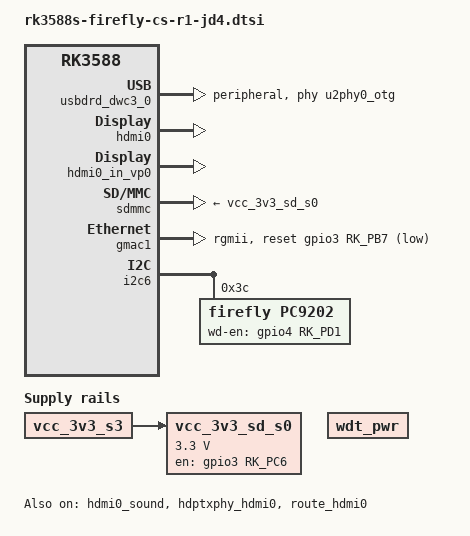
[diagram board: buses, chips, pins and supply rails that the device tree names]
// SPDX-License-Identifier: (GPL-2.0+ OR MIT)
/*
 * Copyright (c) 2021 Rockchip Electronics Co., Ltd.
 *
 */

#include "rk3588-firefly-port.dtsi"

/ {
	chosen: chosen {
		bootargs = "earlycon=uart8250,mmio32,0xfeb50000 console=ttyFIQ0 irqchip.gicv3_pseudo_nmi=0 root=PARTLABEL=rootfs rootfstype=ext4 ro rootwait overlayroot=device:dev=PARTLABEL=userdata,fstype=ext4,mkfs=1 coherent_pool=1m systemd.gpt_auto=0 cgroup_enable=memory swapaccount=1";
	};

	firefly_leds: leds {
		power_led: power {
			gpios = <&gpio4 RK_PA3 GPIO_ACTIVE_HIGH>;//blue led
			pinctrl-names = "default";
			pinctrl-0 = <&led_power>;
		};

		user_led: user {
			gpios = <&gpio4 RK_PB4 GPIO_ACTIVE_HIGH>;//red led
			pinctrl-names = "default";
			pinctrl-0 = <&led_user>;
		};
	};

    vcc_3v3_sd_s0: vcc-3v3-sd-s0 {
        compatible = "regulator-fixed";
        regulator-name = "vcc_3v3_sd_s0";
        regulator-min-microvolt = <3300000>;
        regulator-max-microvolt = <3300000>;
        gpios = <&gpio3 RK_PC6 GPIO_ACTIVE_HIGH>;
        pinctrl-names = "default";
        pinctrl-0 = <&sdmmc_pwr>;
        enable-active-high;
        vin-supply = <&vcc_3v3_s3>;
            regulator-state-mem {
            regulator-off-in-suspend;
        };
    };

    wdt_pwr: wdt-pwr-regulator {
        compatible = "regulator-fixed";
        enable-active-high;
        regulator-always-on;
        regulator-boot-on;
        pinctrl-names = "default";
        //gpios = <&gpio4 RK_PB5 GPIO_ACTIVE_HIGH>;
        pinctrl-0 = <&wdt_pwr_drv>;
        regulator-name = "wdt_pwr";
    };
};

/* usb2 host */
&u2phy2 {
	status = "disabled";
};

&u2phy2_host {
	status = "disabled";
};

&u2phy3 {
	status = "disabled";
};

&u2phy3_host {
	status = "disabled";
};

/* typec0 */
&usbdp_phy0 {
       status = "disabled";
};
&usbdp_phy0_dp {
       status = "disabled";
};
&usbdp_phy0_u3 {
       status = "disabled";
};

&u2phy0_otg {
	/delete-property/ rockchip,typec-vbus-det;
};

&usbdrd_dwc3_0 {
       dr_mode = "peripheral";
       phys = <&u2phy0_otg>;
       phy-names = "usb2-phy";
       maximum-speed = "high-speed";
};

/* hdmi0 */
&hdmi0 {
    enable-gpios = <&gpio4 RK_PB6 GPIO_ACTIVE_HIGH>;
    status = "okay";
};

&hdmi0_in_vp0 {
    status = "okay";
};

&hdmi0_sound {
        status = "okay";
};

&hdptxphy_hdmi0 {
    status = "okay";
};

&route_hdmi0{
    status = "okay";
};

&sdmmc {
    status = "okay";
    vmmc-supply = <&vcc_3v3_sd_s0>;
};

&gmac1{
	phy-mode = "rgmii";
 	snps,reset-gpio = <&gpio3 RK_PB7 GPIO_ACTIVE_LOW>;
	tx_delay = <0x45>;
	rx_delay = <0x35>;
	status = "okay";
};

&i2c6 {
	status = "okay";
   	pinctrl-names = "default";
    pinctrl-0 = <&i2c6m3_xfer>;

    pc9202@3c {
        status = "okay";
        compatible = "firefly,pc9202";
        reg = <0x3c>;

		pinctrl-names = "default";
		pinctrl-0 = <&pc9202_en_pin>;
        wd-en-gpio = <&gpio4 RK_PD1 GPIO_ACTIVE_HIGH>;
    };

	pca9555: gpio@21 {
               status = "disabled";
               compatible = "nxp,pca9555";
               reg = <0x21>;
               gpio-controller;
               #gpio-cells = <2>;
               gpio-group-num = <200>;
       };


	usbc0: fusb302@22 {
		compatible = "fcs,fusb302";
		reg = <0x22>;
		interrupt-parent = <&gpio0>;
		interrupts = <RK_PC4 IRQ_TYPE_LEVEL_LOW>;
		pinctrl-names = "default";
		pinctrl-0 = <&usbc0_int>;
		vbus-supply = <&vbus5v0_typec_pwr_en>;
		status = "disabled";

		ports {
			#address-cells = <1>;
			#size-cells = <0>;

			port@0 {
				reg = <0>;
				usbc0_role_sw: endpoint@0 {
					remote-endpoint = <&dwc3_0_role_switch>;
				};
			};
		};

		usb_con: connector {
			compatible = "usb-c-connector";
			label = "USB-C";
			data-role = "dual";
			power-role = "dual";
			try-power-role = "sink";
			op-sink-microwatt = <1000000>;
			sink-pdos =
				<PDO_FIXED(5000, 1000, PDO_FIXED_USB_COMM)>;
			source-pdos =
				<PDO_FIXED(5000, 3000, PDO_FIXED_USB_COMM)>;

			altmodes {
				#address-cells = <1>;
				#size-cells = <0>;

				altmode@0 {
					reg = <0>;
					svid = <0xff01>;
					vdo = <0xffffffff>;
				};
			};

			ports {
				#address-cells = <1>;
				#size-cells = <0>;

				port@0 {
					reg = <0>;
					usbc0_orien_sw: endpoint {
						remote-endpoint = <&usbdp_phy0_orientation_switch>;
					};
				};

				port@1 {
					reg = <1>;
					dp_altmode_mux: endpoint {
						remote-endpoint = <&usbdp_phy0_dp_altmode_mux>;
					};
				};
			};
		};
	};

};


&pinctrl {


	wdt {
		pc9202_en_pin: pc9202-en-pin {
			rockchip,pins = <4 RK_PD1 RK_FUNC_GPIO &pcfg_pull_none>;
		};
	};

	leds {
		led_user: led-user {
			rockchip,pins = <4 RK_PB4 RK_FUNC_GPIO &pcfg_pull_none>;
		};
		led_power: led-power {
			rockchip,pins = <4 RK_PA3 RK_FUNC_GPIO &pcfg_pull_none>;
		};
	};

       headphone {
               hp_det: hp-det {
                       rockchip,pins = <1 RK_PC0 RK_FUNC_GPIO &pcfg_pull_none>;
               };
       };

       hym8563 {
               hym8563_int: hym8563-int {
                       rockchip,pins = <0 RK_PB0 RK_FUNC_GPIO &pcfg_pull_up>;
               };
       };

	usb-typec {
		usbc0_int: usbc0-int {
			rockchip,pins = <0 RK_PC4 RK_FUNC_GPIO &pcfg_pull_up>;
		};

	};

    wdt-pwr {
        wdt_pwr_drv: wdt-pwr-drv {
            rockchip,pins = <4 RK_PB5 RK_FUNC_GPIO &pcfg_pull_none>;
        };
    };

    sdmmc {
        sdmmc_pwr: sdmmc-pwr {
            rockchip,pins = <3 RK_PC6 RK_FUNC_GPIO &pcfg_pull_none>;
        };
    };

};
